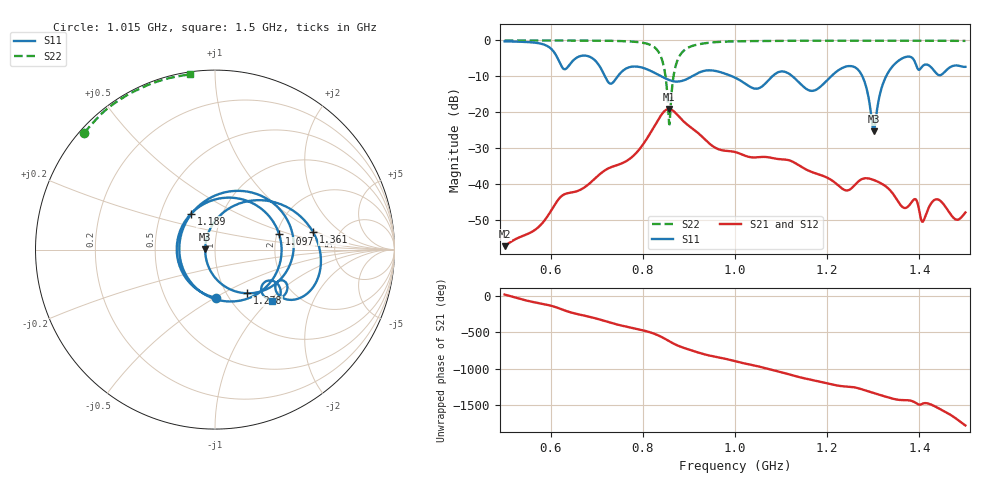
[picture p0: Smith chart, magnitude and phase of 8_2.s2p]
! TOUCHSTONE file generated by CST MICROWAVE STUDIO
! Date and time: Mon Nov 30 09:06:38 2020
! Project name: Scenario_1_Planar_Body_Tissue_Out_of_Line_v2.cst
! Parameters = {dy1=-224.9; L_HA=400; Ltissue=700; MT=2.54; Rad_Dielectric=30; Rad_Lower=7.3; Rad_Upper=30; Wtissue=700; a_HA=580; a_WG=246; b_HA=500; b_WG=121; c_HA=0; c_WG=187; d_feed=85; dx1=346; h_feed=15; h_lower=18; h_upper=40; hfat=3; hgap=25; hmuscle=50; hskin=1.5}
! Header version: 2018
! Port assignment regex: !\s*Touchstone port\s*([0-9]+)\s*=\s*(CST MWS port|CST DS port)\s*([0-9]+|Zmin|Zmax)\s*\(\"(.*)\"\)(\s*mode\s*([0-9]+))?.*
! Touchstone port assignment:
! Touchstone port 1 = CST MWS port 1 ("")
! Touchstone port 2 = CST MWS port 2 ("")
# GHz S DB R 50
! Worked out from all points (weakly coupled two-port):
!   1003 points, 500 MHz to 1.5 GHz, reference 50 ohm
!   highest |S21| = -19.06 dB at 857 MHz (marker M1); lowest = -57.2 dB at 500 MHz (marker M2)
!   lowest |S11| = -25.2 dB at 1.301 GHz (marker M3), VSWR 1.12, Z = 44.8 + j0.0824 ohm
!   |S11| at or under -10 dB: 840.3 MHz to 906.3 MHz (65.96 MHz wide, 7.55 % of centre); 994.1 MHz to 1.081 GHz (86.74 MHz wide, 8.36 % of centre); 1.125 GHz to 1.208 GHz (83.4 MHz wide, 7.15 % of centre) (the widest 3 of 5)
!   |S22| runs from -23.4 to 0.0 dB; largest |S21 - S12| = 7.3e-05
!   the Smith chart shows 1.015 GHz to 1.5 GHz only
!   S11 on the Smith chart (normalised r, x): 1.015 GHz: 0.87, -0.51; 1.097 GHz: 2.06, +0.41; 1.189 GHz: 0.71, +0.30; 1.278 GHz: 1.24, -0.66; 1.361 GHz: 3.20, +0.92; 1.5 GHz: 1.50, -1.05
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0.5  -0.25 -121.8  -57.19 17.1  -57.19 17.2  -0.01 151.1
0.578  -0.88 -165.1  -51.33 -106.0  -51.34 -106.0  -0.02 145.8
0.667  -4.27 156.9  -41.34 95.6  -41.34 95.6  -0.04 138.4
0.717  -9.79 31.7  -36.16 14.4  -36.16 14.4  -0.09 132.7
0.742  -10.59 -101.0  -34.74 -31.1  -34.74 -31.1  -0.14 128.9
0.771  -7.43 174.1  -32.97 -73.1  -32.97 -73.1  -0.28 122.9
0.834  -9.58 42.5  -21.90 174.0  -21.90 174.0  -3.19 83.2
0.857  -10.99 -14.3  -19.06 96.1  -19.06 96.1  -23.17 -29.2
0.895  -10.77 -129.2  -23.25 -8.9  -23.25 -8.9  -2.25 171.2
0.939  -8.34 88.8  -28.04 -93.1  -28.04 -93.1  -0.71 152.0
1  -10.34 -54.3  -31.02 -178.3  -31.02 -178.3  -0.25 140.3
1.015  -11.42 -88.8  -31.70 158.0  -31.70 158.0  -0.22 138.3
1.053  -13.23 157.0  -32.44 105.8  -32.44 105.8  -0.18 134.1
1.097  -8.70 13.5  -33.01 34.6  -33.00 34.7  -0.12 130.1
1.167  -14.02 -178.1  -36.59 -76.8  -36.60 -76.8  -0.09 124.2
1.189  -12.46 123.7  -37.56 -107.2  -37.56 -107.2  -0.09 122.5
1.247  -7.13 13.0  -41.59 -169.2  -41.59 -169.2  -0.09 118.1
1.278  -10.42 -53.9  -38.43 148.3  -38.43 148.3  -0.09 115.8
1.301  -25.23 179.0  -38.79 101.7  -38.79 101.7  -0.09 114.1
1.334  -8.59 47.8  -41.31 40.3  -41.31 40.3  -0.08 111.6
1.361  -5.12 10.3  -46.01 6.8  -46.01 6.8  -0.09 109.5
1.5  -7.34 -41.8  -47.83 17.5  -47.83 17.5  -0.13 98.0
